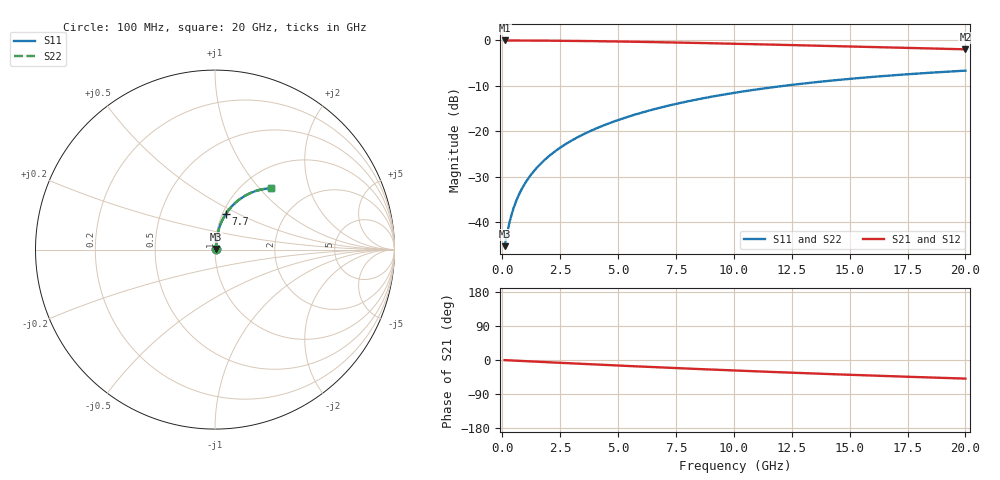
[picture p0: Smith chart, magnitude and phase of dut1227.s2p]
! Touchstone file exported from HFSS 2024.1.0
!  File:  C:/UserFiles/LocalFiles/RDL_TSV_Batchsim/temp_RDL_bottom_1227_1780244364.aedt
!  Generated:  12:22:02 AM Jun  1, 2026
!  Design:  RDL_bottom
!  Project:  temp_RDL_bottom_1227_1780244364
!  Setup:  Setup1
!  Solution:  Sweep
! Variables:
!  dtsv = 10.80580581um
!  hbump = 3um
!  htsv = 83.57um
!  ldown = 660.5um
!  lrdl = 100um
!  p = 40
!  p1 = 55.07um
!  rhole = 1um
!  t = 450um
!  tdown = 2.67um
!  trdl = 3.915915916um
!  wdown = 19.44um
!  wrdl = 20um
# GHz S MA R 50.000000
! Terminal data exported
! Port[1] = RDL1_T1
! Port[2] = RDL1_T2
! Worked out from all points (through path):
!   200 points, 100 MHz to 20 GHz, reference 50 ohm
!   highest |S21| = -0.04 dB at 100 MHz (marker M1); lowest = -2.0 dB at 20 GHz (marker M2)
!   group delay of S21, straight-line fit = 6.8 ps
!   lowest |S11| = -45.2 dB at 100 MHz (marker M3), VSWR 1.01, Z = 50.5 + j0.285 ohm
!   |S11| at or under -10 dB: start of sweep to 12.17 GHz
!   |S22| runs from -45.2 to -6.7 dB; largest |S21 - S12| = 9.7e-15
!   S11 on the Smith chart (normalised r, x): 100 MHz: 1.01, +0.01; 7.7 GHz: 1.04, +0.43; 20 GHz: 1.33, +1.16
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0.1  0.005482 31.0  0.9953 -0.3  0.9953 -0.3  0.005482 31.0
! Gamma 0 0 0 0
! Port Impedance 50 0 50 0
0.2  0.007407 49.3  0.9952 -0.6  0.9952 -0.6  0.007407 49.3
0.3  0.009734 59.0  0.9949 -0.9  0.9949 -0.9  0.009734 59.0
0.4  0.01219 64.6  0.9947 -1.2  0.9947 -1.2  0.01219 64.6
0.5  0.01468 68.3  0.9945 -1.5  0.9945 -1.5  0.01468 68.3
0.6  0.01718 70.8  0.9942 -1.8  0.9942 -1.8  0.01718 70.8
0.8  0.02221 74.2  0.9937 -2.4  0.9937 -2.4  0.02221 74.2
1.1  0.02981 77.2  0.993 -3.3  0.993 -3.3  0.02981 77.2
1.3  0.03493 78.4  0.9924 -3.9  0.9924 -3.9  0.03493 78.4
1.6  0.04265 79.5  0.9914 -4.8  0.9914 -4.8  0.04265 79.5
2.1  0.05566 80.4  0.9894 -6.3  0.9894 -6.3  0.05566 80.5
2.7  0.07142 80.7  0.9864 -8.0  0.9864 -8.0  0.07143 80.7
3.5  0.09267 80.3  0.9815 -10.3  0.9815 -10.3  0.09268 80.3
4.2  0.1114 79.5  0.9764 -12.3  0.9764 -12.3  0.1114 79.6
5  0.133 78.4  0.9697 -14.6  0.9697 -14.6  0.133 78.4
5.9  0.1573 76.9  0.9614 -17.1  0.9614 -17.1  0.1573 76.9
6.8  0.1814 75.1  0.9523 -19.5  0.9523 -19.5  0.1815 75.2
7.7  0.2054 73.3  0.9427 -21.8  0.9427 -21.8  0.2054 73.3
10.1  0.2669 68.1  0.915 -27.9  0.915 -27.9  0.267 68.1
13.4  0.3436 60.8  0.8747 -35.5  0.8747 -35.5  0.3437 60.9
16.7  0.4093 53.9  0.8342 -42.6  0.8342 -42.6  0.4095 54.0
20  0.4639 47.5  0.7955 -49.1  0.7955 -49.1  0.4642 47.6
